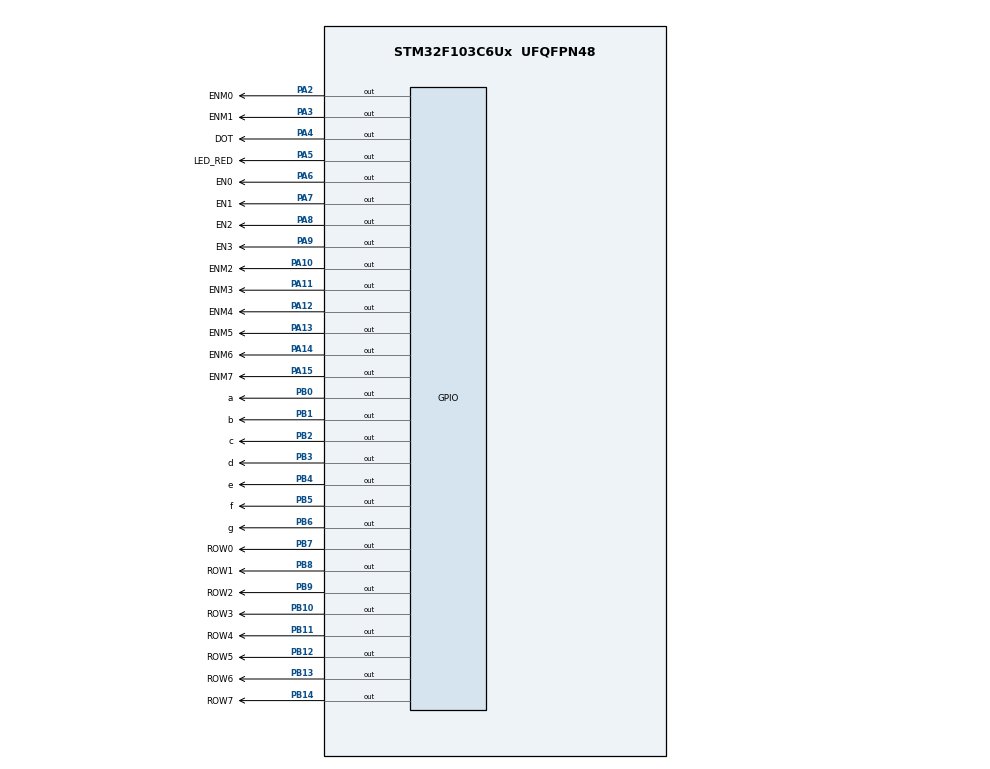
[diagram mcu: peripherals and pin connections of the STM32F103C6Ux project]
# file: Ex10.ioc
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Mcu.Family=STM32F1
Mcu.Name=STM32F103C6Ux
Mcu.Package=UFQFPN48
NVIC.PriorityGroup=NVIC_PRIORITYGROUP_4
NVIC.TIM2_IRQn=true\:0\:0\:false\:false\:true\:true\:true
PA10.GPIO_Label=ENM2
PA10.Signal=GPIO_Output
PA11.GPIO_Label=ENM3
PA11.Signal=GPIO_Output
PA12.GPIO_Label=ENM4
PA12.Signal=GPIO_Output
PA13.GPIO_Label=ENM5
PA13.Signal=GPIO_Output
PA14.GPIO_Label=ENM6
PA14.Signal=GPIO_Output
PA15.GPIO_Label=ENM7
PA15.Signal=GPIO_Output
PA2.GPIO_Label=ENM0
PA2.Signal=GPIO_Output
PA3.GPIO_Label=ENM1
PA3.Signal=GPIO_Output
PA4.GPIO_Label=DOT
PA4.Signal=GPIO_Output
PA5.GPIO_Label=LED_RED
PA5.Signal=GPIO_Output
PA6.GPIO_Label=EN0
PA6.Signal=GPIO_Output
PA7.GPIO_Label=EN1
PA7.Signal=GPIO_Output
PA8.GPIO_Label=EN2
PA8.Signal=GPIO_Output
PA9.GPIO_Label=EN3
PA9.Signal=GPIO_Output
PB0.GPIO_Label=a
PB0.Signal=GPIO_Output
PB1.GPIO_Label=b
PB1.Signal=GPIO_Output
PB10.GPIO_Label=ROW3
PB10.Signal=GPIO_Output
PB11.GPIO_Label=ROW4
PB11.Signal=GPIO_Output
PB12.GPIO_Label=ROW5
PB12.Signal=GPIO_Output
PB13.GPIO_Label=ROW6
PB13.Signal=GPIO_Output
PB14.GPIO_Label=ROW7
PB14.Signal=GPIO_Output
PB2.GPIO_Label=c
PB2.Signal=GPIO_Output
PB3.GPIO_Label=d
PB3.Signal=GPIO_Output
PB4.GPIO_Label=e
PB4.Signal=GPIO_Output
PB5.GPIO_Label=f
PB5.Signal=GPIO_Output
PB6.GPIO_Label=g
PB6.Signal=GPIO_Output
PB7.GPIO_Label=ROW0
PB7.Signal=GPIO_Output
PB8.GPIO_Label=ROW1
PB8.Signal=GPIO_Output
PB9.GPIO_Label=ROW2
PB9.Signal=GPIO_Output
ProjectManager.HeapSize=0x200
ProjectManager.StackSize=0x400
ProjectManager.TargetToolchain=STM32CubeIDE
RCC.APB1Freq_Value=8000000
RCC.APB2Freq_Value=8000000
TIM2.Period=9
TIM2.Prescaler=7999
VP_SYS_VS_ND.Mode=No_Debug
VP_TIM2_VS_ClockSourceINT.Mode=Internal
board=custom

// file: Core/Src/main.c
/* USER CODE BEGIN Header */
/**
  ******************************************************************************
  * @file           : main.c
  * @brief          : Main program body
  ******************************************************************************
  * @attention
  *
  * <h2><center>&copy; Copyright (c) 2024 STMicroelectronics.
  * All rights reserved.</center></h2>
  *
  * This software component is licensed by ST under BSD 3-Clause license,
  * the "License"; You may not use this file except in compliance with the
  * License. You may obtain a copy of the License at:
  *                        opensource.org/licenses/BSD-3-Clause
  *
  ******************************************************************************
  */
/* USER CODE END Header */
#include "main.h"

TIM_HandleTypeDef htim2;

void SystemClock_Config(void);
static void MX_GPIO_Init(void);
static void MX_TIM2_Init(void);
void display7SEG(int num);
/* USER CODE BEGIN PFP */

const int MAX_LED = 4;
const int MAX_LED_MATRIX = 8;
int index_led = 0;
int index_led_matrix = 0;
int matrix_shift_flag = 0;
uint8_t shift = 0;
//uint8_t matrix_buffer[8] = {0xC7,0x93,0x39,0x01,0x01,0x39,0x39,0x39};
uint8_t matrix_buffer[8] = {0xE7,0xDB,0xBD,0x7E,0x00,0x00,0x7E,0x7E};
//uint8_t matrix_buffer[8] = {0xFE,0xFD,0xFB,0xF7,0xEF,0xDF,0xBF,0x7F};
//uint8_t matrix_buffer[8] = {0x18,0x3C,0x66,0x66,0x7E,0x7E,0x66,0x66};
//uint8_t matrix_buffer[8] = {0x00, 0xFC, 0xfe, 0x33, 0x33, 0xFE, 0xFC, 0x00};
int led_buffer [4] = {0, 0, 0, 0};

void update7SEG ( int index )
{
	switch ( index )
	{
	case 0:
		HAL_GPIO_WritePin ( EN0_GPIO_Port , EN0_Pin ,GPIO_PIN_RESET );
		HAL_GPIO_WritePin ( EN1_GPIO_Port , EN1_Pin ,GPIO_PIN_SET );
		HAL_GPIO_WritePin ( EN2_GPIO_Port , EN2_Pin ,GPIO_PIN_SET );
		HAL_GPIO_WritePin ( EN3_GPIO_Port , EN3_Pin ,GPIO_PIN_SET );
		display7SEG ( led_buffer [0]) ;
		break;
	case 1:
		HAL_GPIO_WritePin ( EN0_GPIO_Port , EN0_Pin ,GPIO_PIN_SET );
		HAL_GPIO_WritePin ( EN1_GPIO_Port , EN1_Pin ,GPIO_PIN_RESET );
		HAL_GPIO_WritePin ( EN2_GPIO_Port , EN2_Pin ,GPIO_PIN_SET );
		HAL_GPIO_WritePin ( EN3_GPIO_Port , EN3_Pin ,GPIO_PIN_SET );
		display7SEG ( led_buffer [1]) ;
		break;
	case 2:
		HAL_GPIO_WritePin ( EN0_GPIO_Port , EN0_Pin ,GPIO_PIN_SET );
		HAL_GPIO_WritePin ( EN1_GPIO_Port , EN1_Pin ,GPIO_PIN_SET );
		HAL_GPIO_WritePin ( EN2_GPIO_Port , EN2_Pin ,GPIO_PIN_RESET );
		HAL_GPIO_WritePin ( EN3_GPIO_Port , EN3_Pin ,GPIO_PIN_SET );
		display7SEG ( led_buffer [2]) ;
		break;
	case 3:
		HAL_GPIO_WritePin ( EN0_GPIO_Port , EN0_Pin ,GPIO_PIN_SET );
		HAL_GPIO_WritePin ( EN1_GPIO_Port , EN1_Pin ,GPIO_PIN_SET );
		HAL_GPIO_WritePin ( EN2_GPIO_Port , EN2_Pin ,GPIO_PIN_SET );
		HAL_GPIO_WritePin ( EN3_GPIO_Port , EN3_Pin ,GPIO_PIN_RESET );
		display7SEG ( led_buffer [3]) ;
		break;
	default:
		break;
	}
}

//int led_buffer [4] = {0, 0, 0, 0};
int hour = 18;
int minute = 10;
int second = 50;
void updateClockBuffer ( int hour, int minute)
{
	if (hour <= 9)
		{
			led_buffer [1] = hour;
			led_buffer [0] = 0;
		}
		else
		{
			led_buffer [1] = hour % 10;
			led_buffer [0] = hour / 10;
		}
	if (minute <= 9)
	{
		led_buffer [3] = minute;
		led_buffer [2] = 0;
	}
	else
	{
		led_buffer [3] = minute % 10;
		led_buffer [2] = minute / 10;
	}

}

void setCol(uint8_t val){
	HAL_GPIO_WritePin(ENM0_GPIO_Port, ENM0_Pin, ((val>>7)&0x01));
	HAL_GPIO_WritePin(ENM1_GPIO_Port, ENM1_Pin, ((val>>6)&0x01));
	HAL_GPIO_WritePin(ENM2_GPIO_Port, ENM2_Pin, ((val>>5)&0x01));
	HAL_GPIO_WritePin(ENM3_GPIO_Port, ENM3_Pin, ((val>>4)&0x01));
	HAL_GPIO_WritePin(ENM4_GPIO_Port, ENM4_Pin, ((val>>3)&0x01));
	HAL_GPIO_WritePin(ENM5_GPIO_Port, ENM5_Pin, ((val>>2)&0x01));
	HAL_GPIO_WritePin(ENM6_GPIO_Port, ENM6_Pin, ((val>>1)&0x01));
	HAL_GPIO_WritePin(ENM7_GPIO_Port, ENM7_Pin, ((val>>0)&0x01));
}

void setMatrix(void){
	HAL_GPIO_WritePin(ROW0_GPIO_Port, ROW0_Pin, SET);
	HAL_GPIO_WritePin(ROW1_GPIO_Port, ROW1_Pin, SET);
	HAL_GPIO_WritePin(ROW2_GPIO_Port, ROW2_Pin, SET);
	HAL_GPIO_WritePin(ROW3_GPIO_Port, ROW3_Pin, SET);
	HAL_GPIO_WritePin(ROW4_GPIO_Port, ROW4_Pin, SET);
	HAL_GPIO_WritePin(ROW5_GPIO_Port, ROW5_Pin, SET);
	HAL_GPIO_WritePin(ROW6_GPIO_Port, ROW6_Pin, SET);
	HAL_GPIO_WritePin(ROW7_GPIO_Port, ROW7_Pin, SET);
}

void updateLEDMatrix( uint8_t index, uint8_t shift ){
	setMatrix();
	uint8_t matrix_buffer_shift = (matrix_buffer[index] << shift) | (matrix_buffer[index] >> (8-shift));
	switch (index){
	case 0:
		setCol(matrix_buffer_shift);
		HAL_GPIO_WritePin(ROW0_GPIO_Port, ROW0_Pin, RESET);
		break;
	case 1:
		setCol(matrix_buffer_shift);
		HAL_GPIO_WritePin(ROW1_GPIO_Port, ROW1_Pin, RESET);
		break;
	case 2:
		setCol(matrix_buffer_shift);
		HAL_GPIO_WritePin(ROW2_GPIO_Port, ROW2_Pin, RESET);
		break;
	case 3:
		setCol(matrix_buffer_shift);
		HAL_GPIO_WritePin(ROW3_GPIO_Port, ROW3_Pin, RESET);
		break;
	case 4:
		setCol(matrix_buffer_shift);
		HAL_GPIO_WritePin(ROW4_GPIO_Port, ROW4_Pin, RESET);
		break;
	case 5:
		setCol(matrix_buffer_shift);
		HAL_GPIO_WritePin(ROW5_GPIO_Port, ROW5_Pin, RESET);
		break;
	case 6:
		setCol(matrix_buffer_shift);
		HAL_GPIO_WritePin(ROW6_GPIO_Port, ROW6_Pin, RESET);
		break;
	case 7:
		setCol(matrix_buffer_shift);
		HAL_GPIO_WritePin(ROW7_GPIO_Port, ROW7_Pin, RESET);
		break;
	default:
		break;
	}
}

//void updateLEDMatrix ( int index )
//{
//	switch (index) {
//	case 0:
//		HAL_GPIO_WritePin (ENM0_GPIO_Port, ENM0_Pin, RESET);
//		HAL_GPIO_WritePin (GPIOA , ENM1_Pin | ENM2_Pin | ENM3_Pin | ENM4_Pin | ENM5_Pin | ENM6_Pin | ENM7_Pin , SET );
//		HAL_GPIO_WritePin (GPIOB , 0xff <<8, SET );
//		HAL_GPIO_WritePin (GPIOB , matrix_buffer [ index ]<<8, RESET);
//		break;
//	case 1:
//		HAL_GPIO_WritePin (ENM1_GPIO_Port, ENM1_Pin, RESET);
//		HAL_GPIO_WritePin (GPIOA , ENM0_Pin | ENM2_Pin | ENM3_Pin | ENM4_Pin | ENM5_Pin | ENM6_Pin | ENM7_Pin , SET );
//		HAL_GPIO_WritePin (GPIOB , 0xff <<8, SET );
//		HAL_GPIO_WritePin (GPIOB , matrix_buffer [ index ]<<8, RESET);
//	    break;
//	case 2:
//		HAL_GPIO_WritePin (ENM2_GPIO_Port, ENM2_Pin, RESET);
//		HAL_GPIO_WritePin (GPIOA , ENM0_Pin | ENM1_Pin | ENM3_Pin | ENM4_Pin | ENM5_Pin | ENM6_Pin | ENM7_Pin , SET );
//		HAL_GPIO_WritePin (GPIOB , 0xff <<8, SET );
//		HAL_GPIO_WritePin (GPIOB , matrix_buffer [ index ]<<8, RESET);
//		break;
//	case 3:
//		HAL_GPIO_WritePin (ENM3_GPIO_Port, ENM3_Pin, RESET);
//		HAL_GPIO_WritePin (GPIOA , ENM0_Pin | ENM1_Pin | ENM2_Pin | ENM4_Pin | ENM5_Pin | ENM6_Pin | ENM7_Pin , SET );
//		HAL_GPIO_WritePin (GPIOB , 0xff <<8, SET );
//		HAL_GPIO_WritePin (GPIOB , matrix_buffer [ index ]<<8, RESET);
//		break;
//	case 4:
//		HAL_GPIO_WritePin (ENM4_GPIO_Port, ENM4_Pin, RESET);
//		HAL_GPIO_WritePin (GPIOA , ENM0_Pin | ENM1_Pin | ENM2_Pin | ENM3_Pin | ENM5_Pin | ENM6_Pin | ENM7_Pin , SET );
//		HAL_GPIO_WritePin (GPIOB , 0xff <<8, SET );
//		HAL_GPIO_WritePin (GPIOB , matrix_buffer [ index ]<<8, RESET);
//		break;
//	case 5:
//		HAL_GPIO_WritePin (ENM5_GPIO_Port, ENM5_Pin, RESET);
//		HAL_GPIO_WritePin (GPIOA , ENM0_Pin | ENM1_Pin | ENM2_Pin | ENM3_Pin | ENM4_Pin | ENM6_Pin | ENM7_Pin , SET );
//		HAL_GPIO_WritePin (GPIOB , 0xff <<8, SET );
//		HAL_GPIO_WritePin (GPIOB , matrix_buffer [ index ]<<8, RESET);
//		break;
//	case 6:
//		HAL_GPIO_WritePin (ENM6_GPIO_Port, ENM6_Pin, RESET);
//		HAL_GPIO_WritePin (GPIOA , ENM0_Pin | ENM1_Pin | ENM2_Pin | ENM3_Pin | ENM4_Pin | ENM5_Pin | ENM7_Pin , SET );
//		HAL_GPIO_WritePin (GPIOB , 0xff <<8, SET );
//		HAL_GPIO_WritePin (GPIOB , matrix_buffer [ index ]<<8, RESET);
//		break;
//	case 7:
//		HAL_GPIO_WritePin (ENM7_GPIO_Port, ENM7_Pin, RESET);
//		HAL_GPIO_WritePin (GPIOA , ENM0_Pin | ENM1_Pin | ENM2_Pin | ENM3_Pin | ENM4_Pin | ENM5_Pin | ENM6_Pin , SET );
//		HAL_GPIO_WritePin (GPIOB , 0xff <<8, SET );
//		HAL_GPIO_WritePin (GPIOB , matrix_buffer [ index ]<<8, RESET);
//		break;
//	default:
//		break;
//	}
//}

//void change_matrix_buffer ()
//{
//	int temp ;
//	temp = matrix_buffer [0];
//	int var ;
//	for ( uint8_t i = 0; i <8; ++i){
//		var = matrix_buffer [i];
//		matrix_buffer [i] = matrix_buffer [i +1];
//		matrix_buffer [i + 1] = var;
//	}
//}

/* USER CODE END PFP */

/* USER CODE BEGIN 0 */
int timer0_counter = 0;
int timer0_flag = 0;
int timer1_counter = 0;
int timer1_flag = 0;
int timer2_counter = 0;
int timer2_flag = 0;
int timer3_counter = 0;
int timer3_flag = 0;

int TIMER_CYCLE = 10;

void setTimer0 (int duration ){
	timer0_counter = duration / TIMER_CYCLE ;
	timer0_flag = 0;
}

void setTimer1 (int duration ){
	timer1_counter = duration / TIMER_CYCLE ;
	timer1_flag = 0;
}

void setTimer2 (int duration ){
	timer2_counter = duration / TIMER_CYCLE ;
	timer2_flag = 0;
}

void setTimer3 (int duration ){
	timer3_counter = duration / TIMER_CYCLE ;
	timer3_flag = 0;
}

void timerRun() {
	if(timer0_counter > 0) {
		timer0_counter--;
		if(timer0_counter <= 0) {
			timer0_flag = 1;
		}
	}
	if(timer1_counter > 0) {
		timer1_counter--;
		if(timer1_counter <= 0) {
			timer1_flag = 1;
		}
	}
	if(timer2_counter > 0) {
		timer2_counter--;
		if(timer2_counter <= 0) {
				timer2_flag = 1;
		}
	}
	if(timer3_counter > 0) {
		timer3_counter--;
		if(timer3_counter <= 0) {
				timer3_flag = 1;
		}
	}
}
/* USER CODE END 0 */

int main(void)
{

  /* MCU Configuration--------------------------------------------------------*/

  /* Reset of all peripherals, Initializes the Flash interface and the Systick. */
  HAL_Init();

  /* Configure the system clock */
  SystemClock_Config();

  /* Initialize all configured peripherals */
  MX_GPIO_Init();
  MX_TIM2_Init();
  /* USER CODE BEGIN 2 */
  HAL_TIM_Base_Start_IT (& htim2 );
  /* USER CODE END 2 */

  /* Infinite loop */
  /* USER CODE BEGIN WHILE */

  setTimer0 (1000) ;
  setTimer2 (1000) ;
  setTimer1 (250) ;
  setTimer3 (250) ;

  while (1)
  {
	  // LED BLINK AND DOT
	  if(timer0_flag == 1) {
		HAL_GPIO_TogglePin(DOT_GPIO_Port, DOT_Pin);
		setTimer0(1000);
	  }
	  // UPDATE LED7SEG & LED MATRIX
	  if(timer1_flag == 1) {
		update7SEG(index_led);
		index_led++;
		if(index_led >= 4) index_led = 0;

		updateLEDMatrix(index_led_matrix, shift);
		index_led_matrix++;
		if(index_led_matrix >= 8) {
			index_led_matrix = 0;
			shift ++;
			if(shift >= 8) shift = 0;
		}

		setTimer1(250);
	  }
	  // UPDATE TIME
	  if(timer2_flag == 1) {
		  second++;
		  if (second >= 60){
			  second = 0;
			  minute++;
		  }
		  if(minute >= 60){
			  minute = 0;
			  hour++;
		  }
		  if(hour >= 24){
			  hour = 0;
		  }
		  updateClockBuffer(hour,minute);
		  setTimer2(1000);
	  }
//	  if ( timer0_flag == 1)
//	  {
//		  //HAL_GPIO_TogglePin ( LED_RED_GPIO_Port , LED_RED_Pin );
//		  HAL_GPIO_TogglePin (DOT_GPIO_Port, DOT_Pin) ;
//		  setTimer0 (1000) ;
//	  }
//	  if(timer1_flag == 1){
//		  update7SEG(index_led++);
//		  		if(index_led > 3) index_led = 0;
//		  setTimer1(1000);
//	  }
//	  if( timer2_flag == 1)
//	  {
//		  second ++;
//		  if ( second >= 60) {
//			  second = 0;
//			  minute ++;
//		  }
//		  if( minute >= 60) {
//			  minute = 0;
//			  hour ++;
//		  }
//		  if( hour >=24){
//			  hour = 0;
//		  }
//		  updateClockBuffer (hour,minute);
//		  setTimer2 (250) ;
//	  }
//	  if ( timer3_flag == 1)
//	 	  {
//		      if ( index_led_matrix > 7) index_led_matrix = 0;
//		      updateLEDMatrix ( index_led_matrix ++) ;
//	 		  setTimer3 (250) ;
//	 	  }

    /* USER CODE END WHILE */

  }
}

void display7SEG(int num)
{
    if (num == 0)
    {
        HAL_GPIO_WritePin(a_GPIO_Port, a_Pin, RESET);
        HAL_GPIO_WritePin(b_GPIO_Port, b_Pin, RESET);
        HAL_GPIO_WritePin(c_GPIO_Port, c_Pin, RESET);
        HAL_GPIO_WritePin(d_GPIO_Port, d_Pin, RESET);
        HAL_GPIO_WritePin(e_GPIO_Port, e_Pin, RESET);
        HAL_GPIO_WritePin(f_GPIO_Port, f_Pin, RESET);
        HAL_GPIO_WritePin(g_GPIO_Port, g_Pin, SET);
    }

    else if (num == 1)
    {
        HAL_GPIO_WritePin(a_GPIO_Port, a_Pin, SET);
        HAL_GPIO_WritePin(b_GPIO_Port, b_Pin, RESET);
        HAL_GPIO_WritePin(c_GPIO_Port, c_Pin, RESET);
        HAL_GPIO_WritePin(d_GPIO_Port, d_Pin, SET);
        HAL_GPIO_WritePin(e_GPIO_Port, e_Pin, SET);
        HAL_GPIO_WritePin(f_GPIO_Port, f_Pin, SET);
        HAL_GPIO_WritePin(g_GPIO_Port, g_Pin, SET);
    }

    else if (num == 2)
    {
        HAL_GPIO_WritePin(a_GPIO_Port, a_Pin, RESET);
        HAL_GPIO_WritePin(b_GPIO_Port, b_Pin, RESET);
        HAL_GPIO_WritePin(c_GPIO_Port, c_Pin, SET);
        HAL_GPIO_WritePin(d_GPIO_Port, d_Pin, RESET);
        HAL_GPIO_WritePin(e_GPIO_Port, e_Pin, RESET);
        HAL_GPIO_WritePin(f_GPIO_Port, f_Pin, SET);
        HAL_GPIO_WritePin(g_GPIO_Port, g_Pin, RESET);
    }

    else if (num == 3)
    {
        HAL_GPIO_WritePin(a_GPIO_Port, a_Pin, RESET);
        HAL_GPIO_WritePin(b_GPIO_Port, b_Pin, RESET);
        HAL_GPIO_WritePin(c_GPIO_Port, c_Pin, RESET);
        HAL_GPIO_WritePin(d_GPIO_Port, d_Pin, RESET);
        HAL_GPIO_WritePin(e_GPIO_Port, e_Pin, SET);
        HAL_GPIO_WritePin(f_GPIO_Port, f_Pin, SET);
        HAL_GPIO_WritePin(g_GPIO_Port, g_Pin, RESET);
    }

    else if (num == 4)
    {
        HAL_GPIO_WritePin(a_GPIO_Port, a_Pin, SET);
        HAL_GPIO_WritePin(b_GPIO_Port, b_Pin, RESET);
        HAL_GPIO_WritePin(c_GPIO_Port, c_Pin, RESET);
        HAL_GPIO_WritePin(d_GPIO_Port, d_Pin, SET);
        HAL_GPIO_WritePin(e_GPIO_Port, e_Pin, SET);
        HAL_GPIO_WritePin(f_GPIO_Port, f_Pin, RESET);
        HAL_GPIO_WritePin(g_GPIO_Port, g_Pin, RESET);
    }

    else if (num == 5)
    {
        HAL_GPIO_WritePin(a_GPIO_Port, a_Pin, RESET);
        HAL_GPIO_WritePin(b_GPIO_Port, b_Pin, SET);
        HAL_GPIO_WritePin(c_GPIO_Port, c_Pin, RESET);
        HAL_GPIO_WritePin(d_GPIO_Port, d_Pin, RESET);
        HAL_GPIO_WritePin(e_GPIO_Port, e_Pin, SET);
        HAL_GPIO_WritePin(f_GPIO_Port, f_Pin, RESET);
        HAL_GPIO_WritePin(g_GPIO_Port, g_Pin, RESET);
    }

    else if (num == 6)
    {
        HAL_GPIO_WritePin(a_GPIO_Port, a_Pin, RESET);
        HAL_GPIO_WritePin(b_GPIO_Port, b_Pin, SET);
        HAL_GPIO_WritePin(c_GPIO_Port, c_Pin, RESET);
        HAL_GPIO_WritePin(d_GPIO_Port, d_Pin, RESET);
        HAL_GPIO_WritePin(e_GPIO_Port, e_Pin, RESET);
        HAL_GPIO_WritePin(f_GPIO_Port, f_Pin, RESET);
        HAL_GPIO_WritePin(g_GPIO_Port, g_Pin, RESET);
    }

    else if (num == 7)
    {
        HAL_GPIO_WritePin(a_GPIO_Port, a_Pin, RESET);
        HAL_GPIO_WritePin(b_GPIO_Port, b_Pin, RESET);
        HAL_GPIO_WritePin(c_GPIO_Port, c_Pin, RESET);
        HAL_GPIO_WritePin(d_GPIO_Port, d_Pin, SET);
        HAL_GPIO_WritePin(e_GPIO_Port, e_Pin, SET);
        HAL_GPIO_WritePin(f_GPIO_Port, f_Pin, SET);
        HAL_GPIO_WritePin(g_GPIO_Port, g_Pin, SET);
    }

    else if (num == 8)
    {
        HAL_GPIO_WritePin(a_GPIO_Port, a_Pin, RESET);
        HAL_GPIO_WritePin(b_GPIO_Port, b_Pin, RESET);
        HAL_GPIO_WritePin(c_GPIO_Port, c_Pin, RESET);
        HAL_GPIO_WritePin(d_GPIO_Port, d_Pin, RESET);
        HAL_GPIO_WritePin(e_GPIO_Port, e_Pin, RESET);
        HAL_GPIO_WritePin(f_GPIO_Port, f_Pin, RESET);
        HAL_GPIO_WritePin(g_GPIO_Port, g_Pin, RESET);
    }

    else if (num == 9)
    {
        HAL_GPIO_WritePin(a_GPIO_Port, a_Pin, RESET);
        HAL_GPIO_WritePin(b_GPIO_Port, b_Pin, RESET);
        HAL_GPIO_WritePin(c_GPIO_Port, c_Pin, RESET);
        HAL_GPIO_WritePin(d_GPIO_Port, d_Pin, RESET);
        HAL_GPIO_WritePin(e_GPIO_Port, e_Pin, SET);
        HAL_GPIO_WritePin(f_GPIO_Port, f_Pin, RESET);
        HAL_GPIO_WritePin(g_GPIO_Port, g_Pin, RESET);
    }

}

void SystemClock_Config(void)
{
  RCC_OscInitTypeDef RCC_OscInitStruct = {0};
  RCC_ClkInitTypeDef RCC_ClkInitStruct = {0};

  /** Initializes the RCC Oscillators according to the specified parameters
  * in the RCC_OscInitTypeDef structure.
  */
  RCC_OscInitStruct.OscillatorType = RCC_OSCILLATORTYPE_HSI;
  RCC_OscInitStruct.HSIState = RCC_HSI_ON;
  RCC_OscInitStruct.HSICalibrationValue = RCC_HSICALIBRATION_DEFAULT;
  RCC_OscInitStruct.PLL.PLLState = RCC_PLL_NONE;
  if (HAL_RCC_OscConfig(&RCC_OscInitStruct) != HAL_OK)
  {
    Error_Handler();
  }
  /** Initializes the CPU, AHB and APB buses clocks
  */
  RCC_ClkInitStruct.ClockType = RCC_CLOCKTYPE_HCLK|RCC_CLOCKTYPE_SYSCLK
                              |RCC_CLOCKTYPE_PCLK1|RCC_CLOCKTYPE_PCLK2;
  RCC_ClkInitStruct.SYSCLKSource = RCC_SYSCLKSOURCE_HSI;
  RCC_ClkInitStruct.AHBCLKDivider = RCC_SYSCLK_DIV1;
  RCC_ClkInitStruct.APB1CLKDivider = RCC_HCLK_DIV1;
  RCC_ClkInitStruct.APB2CLKDivider = RCC_HCLK_DIV1;

  if (HAL_RCC_ClockConfig(&RCC_ClkInitStruct, FLASH_LATENCY_0) != HAL_OK)
  {
    Error_Handler();
  }
}

static void MX_TIM2_Init(void)
{

  TIM_ClockConfigTypeDef sClockSourceConfig = {0};
  TIM_MasterConfigTypeDef sMasterConfig = {0};

  htim2.Instance = TIM2;
  htim2.Init.Prescaler = 7999;
  htim2.Init.CounterMode = TIM_COUNTERMODE_UP;
  htim2.Init.Period = 9;
  htim2.Init.ClockDivision = TIM_CLOCKDIVISION_DIV1;
  htim2.Init.AutoReloadPreload = TIM_AUTORELOAD_PRELOAD_DISABLE;
  if (HAL_TIM_Base_Init(&htim2) != HAL_OK)
  {
    Error_Handler();
  }
  sClockSourceConfig.ClockSource = TIM_CLOCKSOURCE_INTERNAL;
  if (HAL_TIM_ConfigClockSource(&htim2, &sClockSourceConfig) != HAL_OK)
  {
    Error_Handler();
  }
  sMasterConfig.MasterOutputTrigger = TIM_TRGO_RESET;
  sMasterConfig.MasterSlaveMode = TIM_MASTERSLAVEMODE_DISABLE;
  if (HAL_TIMEx_MasterConfigSynchronization(&htim2, &sMasterConfig) != HAL_OK)
  {
    Error_Handler();
  }

}

static void MX_GPIO_Init(void)
{
  GPIO_InitTypeDef GPIO_InitStruct = {0};

  /* GPIO Ports Clock Enable */
  __HAL_RCC_GPIOA_CLK_ENABLE();
  __HAL_RCC_GPIOB_CLK_ENABLE();

  /*Configure GPIO pin Output Level */
  HAL_GPIO_WritePin(GPIOA, ENM0_Pin|ENM1_Pin|DOT_Pin|LED_RED_Pin
                          |EN0_Pin|EN1_Pin|EN2_Pin|EN3_Pin
                          |ENM2_Pin|ENM3_Pin|ENM4_Pin|ENM5_Pin
                          |ENM6_Pin|ENM7_Pin, GPIO_PIN_RESET);

  /*Configure GPIO pin Output Level */
  HAL_GPIO_WritePin(GPIOB, a_Pin|b_Pin|c_Pin|ROW3_Pin
                          |ROW4_Pin|ROW5_Pin|ROW6_Pin|ROW7_Pin
                          |d_Pin|e_Pin|f_Pin|g_Pin
                          |ROW0_Pin|ROW1_Pin|ROW2_Pin, GPIO_PIN_RESET);

  /*Configure GPIO pins : ENM0_Pin ENM1_Pin DOT_Pin LED_RED_Pin
                           EN0_Pin EN1_Pin EN2_Pin EN3_Pin
                           ENM2_Pin ENM3_Pin ENM4_Pin ENM5_Pin
                           ENM6_Pin ENM7_Pin */
  GPIO_InitStruct.Pin = ENM0_Pin|ENM1_Pin|DOT_Pin|LED_RED_Pin
                          |EN0_Pin|EN1_Pin|EN2_Pin|EN3_Pin
                          |ENM2_Pin|ENM3_Pin|ENM4_Pin|ENM5_Pin
                          |ENM6_Pin|ENM7_Pin;
  GPIO_InitStruct.Mode = GPIO_MODE_OUTPUT_PP;
  GPIO_InitStruct.Pull = GPIO_NOPULL;
  GPIO_InitStruct.Speed = GPIO_SPEED_FREQ_LOW;
  HAL_GPIO_Init(GPIOA, &GPIO_InitStruct);

  /*Configure GPIO pins : a_Pin b_Pin c_Pin ROW3_Pin
                           ROW4_Pin ROW5_Pin ROW6_Pin ROW7_Pin
                           d_Pin e_Pin f_Pin g_Pin
                           ROW0_Pin ROW1_Pin ROW2_Pin */
  GPIO_InitStruct.Pin = a_Pin|b_Pin|c_Pin|ROW3_Pin
                          |ROW4_Pin|ROW5_Pin|ROW6_Pin|ROW7_Pin
                          |d_Pin|e_Pin|f_Pin|g_Pin
                          |ROW0_Pin|ROW1_Pin|ROW2_Pin;
  GPIO_InitStruct.Mode = GPIO_MODE_OUTPUT_PP;
  GPIO_InitStruct.Pull = GPIO_NOPULL;
  GPIO_InitStruct.Speed = GPIO_SPEED_FREQ_LOW;
  HAL_GPIO_Init(GPIOB, &GPIO_InitStruct);

}

/* USER CODE BEGIN 4 */
//int counter = 5;
//int counter1 = 100;
void HAL_TIM_PeriodElapsedCallback ( TIM_HandleTypeDef * htim )
{
//	counter --;
//	if( counter <= 0)
//	{
//		counter = 5;
//		update7SEG ( index_led ++) ;
//		if( index_led > 3)
//		{
//			index_led = 0;
//		}
//	}
//	counter1 --;
//	if ( counter1 <= 0)
//	{
//		counter1 = 100;
//		HAL_GPIO_TogglePin ( LED_RED_GPIO_Port , LED_RED_Pin );
//		HAL_GPIO_TogglePin ( DOT_GPIO_Port , DOT_Pin );
//	}
	HAL_GPIO_WritePin(LED_RED_GPIO_Port, LED_RED_Pin,RESET);
	timerRun();

}
/* USER CODE END 4 */

void Error_Handler(void)
{
  __disable_irq();
  while (1)
  {
  }
}

/************************ (C) COPYRIGHT STMicroelectronics *****END OF FILE****/
